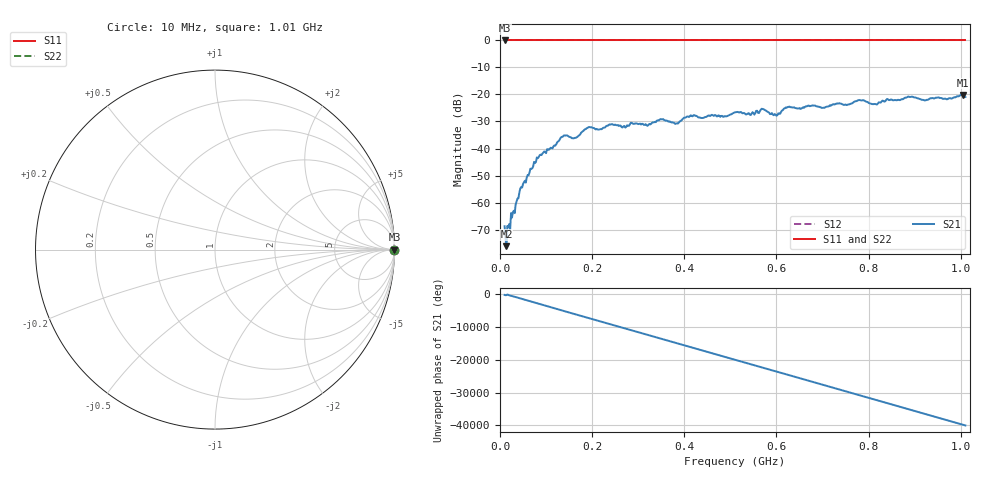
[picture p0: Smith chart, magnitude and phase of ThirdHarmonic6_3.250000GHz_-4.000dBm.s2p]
! 8/17/2025 9:59:56 AM
! C:\ANRITSUVNA\TEMP\TEMP.S2P
! CHANNEL.1
! TR.MEASUREMENT
! RAW.DATA
! RF.CORRECTION.OFF
! AVERAGING.OFF
! IF.BANDWIDTH: 5KHZ
! SWEEPTYPE:  FREQ.SWEEP(Linear)
! Reference Plane Port Info
! PORT:  PORT1  PORT2
! DISTANCE:  0  m  0  m
! TIME:  0  s  0  s
! PHASE.OFFSET:  0  deg.  0  deg.
! LOSS:  0  dB  0  dB
! REF.LOSS:  0  dB  0  dB
! REF.FREQ:  0  Hz  0  Hz
! Power Info
! POWER:  -20  dBm  -20  dBm
! EFF.POWER:  -20  dBm  -20  dBm
! SOURCE.ATTEN:  0  dB  0  dB
! TEST.ATTEN:  0  dB  0  dB
# GHZ S RI R 50.0
! FREQ.GHZ  S11RE  S11IM  S21RE  S21IM  S12RE  S12IM  S22RE  S22IM
!; PortSelection: Port_12
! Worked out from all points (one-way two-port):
!   501 points, 10 MHz to 1.01 GHz, reference 50 ohm
!   highest |S21| = -20.20 dB at 1.004 GHz (marker M1); lowest = -76.2 dB at 14 MHz (marker M2)
!   lowest |S11| = 0.0 dB at 10 MHz (marker M3)
!   |S11| at or under -10 dB: nowhere
!   |S22| runs from 0.0 to 0.0 dB; largest |S21 - S12| = 1.1
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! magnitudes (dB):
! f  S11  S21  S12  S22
! 10 MHz  0.0  -68.8  0.0  0.0
! 14 MHz  0.0  -76.2  0.0  0.0
! 46 MHz  0.0  -54.3  0.0  0.0
! 84 MHz  0.0  -43.2  0.0  0.0
! 136 MHz  0.0  -35.7  0.0  0.0
! 162 MHz  0.0  -36.1  0.0  0.0
! 178 MHz  0.0  -33.9  0.0  0.0
! 194 MHz  0.0  -32.0  0.0  0.0
! 322 MHz  0.0  -31.2  0.0  0.0
! 344 MHz  0.0  -29.6  0.0  0.0
! 384 MHz  0.0  -30.7  0.0  0.0
! 418 MHz  0.0  -28.1  0.0  0.0
! 510 MHz  0.0  -26.6  0.0  0.0
! 570 MHz  0.0  -25.4  0.0  0.0
! 598 MHz  0.0  -27.4  0.0  0.0
! 624 MHz  0.0  -24.6  0.0  0.0
! 678 MHz  0.0  -24.0  0.0  0.0
! 782 MHz  0.0  -22.1  0.0  0.0
! 814 MHz  0.0  -23.5  0.0  0.0
! 844 MHz  0.0  -22.1  0.0  0.0
! 1.004 GHz  0.0  -20.2  0.0  0.0
! 1.01 GHz  0.0  -20.9  0.0  0.0
